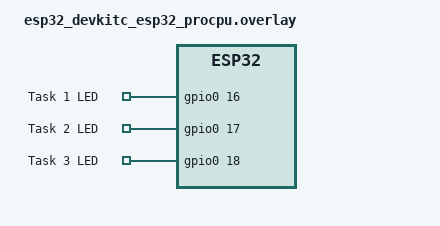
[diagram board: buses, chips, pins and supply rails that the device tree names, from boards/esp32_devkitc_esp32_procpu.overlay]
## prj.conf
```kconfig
CONFIG_GPIO=y
CONFIG_BOOTLOADER_MCUBOOT=y

# TODO 1: Initialize parameters for task execution (see chatterbox/Kconfig)
# Task 1: period=3s, release=1s, execution=1s, priority=1
CONFIG_TASK1_PRIORITY=1
CONFIG_TASK1_PERIOD_MS=3000
CONFIG_TASK1_EXECUTION_TIME_MS=1000
CONFIG_TASK1_RELEASE_MS=1000

# Task 2: period=4s, release=0s, execution=2s, priority=2
CONFIG_TASK2_PRIORITY=2
CONFIG_TASK2_PERIOD_MS=4000
CONFIG_TASK2_EXECUTION_TIME_MS=2000
CONFIG_TASK2_RELEASE_MS=0

# Task 3: period=6s, release=0s, execution=1s, priority=3
CONFIG_TASK3_PRIORITY=3
CONFIG_TASK3_PERIOD_MS=6000
CONFIG_TASK3_EXECUTION_TIME_MS=1000
CONFIG_TASK3_RELEASE_MS=0 
```

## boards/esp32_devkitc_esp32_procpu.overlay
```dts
/**
* TODO 2: Extend device tree overlay so that
* the LEDs of the individual tasks are connected via
* - Task1: GPIO 16
* - Task2: GPIO 17
* - Task3: GPIO 18
*/


/ {
  custom_gpio {
    compatible = "gpio-keys";

    task1_led: task1_led {
      gpios = <&gpio0 16 GPIO_ACTIVE_HIGH>;
      label = "Task 1 LED";
    };

    task2_led: task2_led {
      gpios = <&gpio0 17 GPIO_ACTIVE_HIGH>;
      label = "Task 2 LED";
    };

    task3_led: task3_led {
      gpios = <&gpio0 18 GPIO_ACTIVE_HIGH>;
      label = "Task 3 LED";
    };
  };

  chosen {
    task1_led = &task1_led;
    task2_led = &task2_led;
    task3_led = &task3_led;
  };
};
```

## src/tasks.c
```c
#include "tasks.h"
#include <assert.h>
#include <stdio.h>

/**
 * @brief TODO 3: Let LED blink for (roughly) delay_ms.
 *
 * @param led	    LED device.
 * @param delay_ms  Delay in milliseconds. Must be a multiple of
 *		    BLINK_PERIOD_MS.
 */
void useless_load(int task_id, const struct gpio_dt_spec *led, int32_t delay_ms)
{
	assert(delay_ms % BLINK_PERIOD_MS == 0 && BLINK_PERIOD_MS % 2 == 0);

	// Let LED blink for (roughly) delay_ms
	for (int32_t d = 0; d < delay_ms; d += BLINK_PERIOD_MS) {
		printf(" Task %d\n", task_id);

		/** Toggle LED ON and OFF to make it blink */
		// Turn LED ON
		gpio_pin_set_dt(led, 1);
		k_busy_wait((BLINK_PERIOD_MS / 2) * 1000); // Half period ON
		
		// Turn LED OFF
		gpio_pin_set_dt(led, 0);
		k_busy_wait((BLINK_PERIOD_MS / 2) * 1000); // Half period OFF
	}
	
	// Ensure LED is OFF after execution
	gpio_pin_set_dt(led, 0);
}

/**
 * @brief TODO 3: Implementation of the chatterbox task
 */
void chatterbox_task(struct task_params *params)
{
	/** Implement the chatterbox task for generic *task_params*.
	 * This consists of:
	 *  - Initializing the GPIO pin for params->led
	 *  - Periodically executing the task by calling *useless_load*
	 *  - Suspending the task until the next cycle
	 */
	
	// Initialize GPIO pin as output
	if (!gpio_is_ready_dt(params->led)) {
		printf("Error: LED device %s is not ready\n", params->led->port->name);
		return;
	}
	
	int ret = gpio_pin_configure_dt(params->led, GPIO_OUTPUT_ACTIVE);
	if (ret < 0) {
		printf("Error: failed to configure LED pin\n");
		return;
	}
	
	// Start the timer for periodic execution
	k_timer_start(params->timer, K_MSEC(params->period_ms), K_MSEC(params->period_ms));
	
	// Main task loop
	while (1) {
		// Execute the task (blink LED)
		useless_load(params->task_id, params->led, params->execution_time_ms);
		
		// Wait for the next period using timer
		k_timer_status_sync(params->timer);
	}
}

/** TODO 3: After correctly setting the GPIO assignments for
 * Task 2 and 3 in boards/esp_wrover_kit_procpu.overlay,
 * uncomment the following lines.
 */
INITIALIZE_TASK(1);
INITIALIZE_TASK(2);
INITIALIZE_TASK(3);
```
